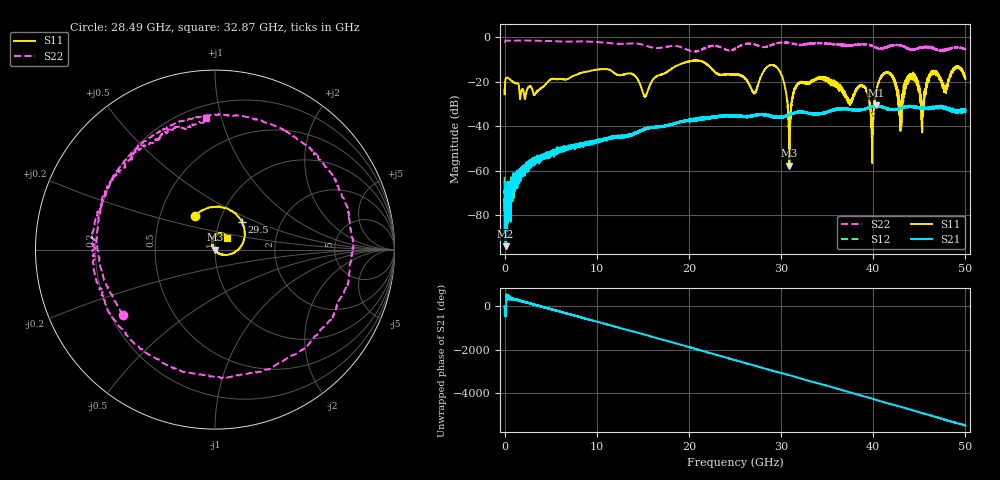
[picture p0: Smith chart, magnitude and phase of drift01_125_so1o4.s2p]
!Created with skrf (http://scikit-rf.org).
# Hz S RI R 50.0
!freq ReS11 ImS11 ReS21 ImS21 ReS12 ImS12 ReS22 ImS22
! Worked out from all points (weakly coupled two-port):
!   10001 points, 300 kHz to 50 GHz, reference 50 ohm
!   highest |S21| = -30.53 dB at 40.34 GHz (marker M1); lowest = -94.1 dB at 105.3 MHz (marker M2)
!   lowest |S11| = -57.8 dB at 30.9 GHz (marker M3), VSWR 1.00, Z = 50 - j0.129 ohm
!   |S11| at or under -10 dB: start of sweep to end of sweep
!   |S22| runs from -6.4 to -1.4 dB; largest |S21 - S12| = 0.0042
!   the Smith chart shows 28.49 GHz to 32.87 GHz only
!   S11 on the Smith chart (normalised r, x): 28.49 GHz: 0.75, +0.29; 29.5 GHz: 1.28, +0.42; 32.87 GHz: 1.14, +0.15
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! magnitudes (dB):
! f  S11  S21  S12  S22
! 300 kHz  -23.5  -65.3  -62.8  -2.1
! 105.3 MHz  -18.7  -94.1  -80.1  -1.5
! 8.335 GHz  -16.0  -48.0  -48.3  -1.8
! 15.24 GHz  -26.5  -41.2  -41.3  -3.5
! 16.67 GHz  -17.1  -40.3  -40.4  -4.8
! 25 GHz  -16.6  -35.6  -35.5  -5.1
! 27.1 GHz  -25.2  -34.8  -35.0  -3.1
! 28.49 GHz  -13.3  -35.3  -34.9  -4.0
! 29.5 GHz  -13.3  -35.9  -36.0  -2.7
! 30.9 GHz  -57.8  -34.9  -34.8  -2.5
! 31.61 GHz  -22.2  -33.9  -33.7  -3.0
! 32.87 GHz  -20.4  -34.0  -33.9  -2.7
! 33.34 GHz  -19.7  -34.3  -34.1  -2.7
! 38.92 GHz  -22.1  -32.5  -32.5  -3.0
! 39.86 GHz  -46.6  -31.3  -31.2  -3.7
! 40.34 GHz  -24.0  -30.5  -30.8  -4.6
! 41.67 GHz  -15.9  -32.1  -32.3  -4.2
! 42.97 GHz  -36.3  -32.3  -31.9  -3.8
! 44.03 GHz  -17.4  -31.0  -31.4  -5.4
! 45.31 GHz  -42.9  -32.0  -32.0  -4.4
! 46.42 GHz  -15.6  -31.8  -31.9  -4.8
! 50 GHz  -18.8  -33.7  -33.3  -5.3
